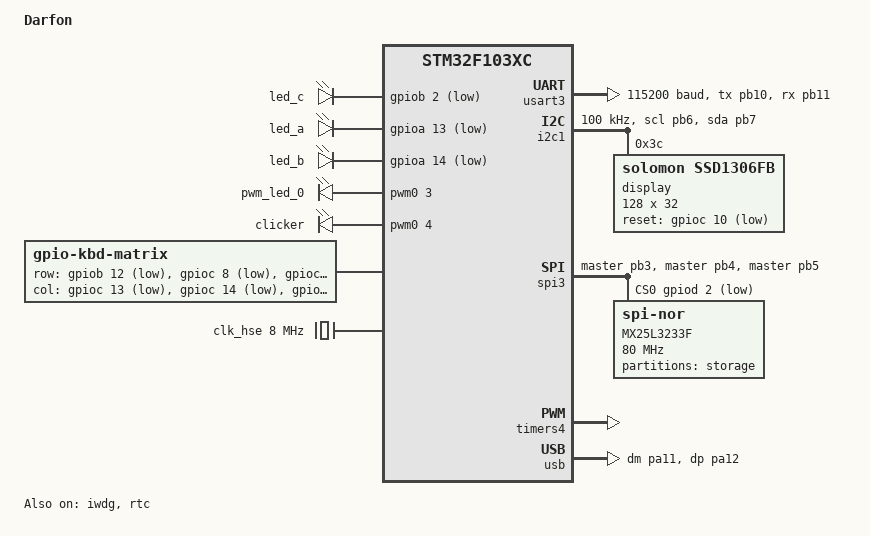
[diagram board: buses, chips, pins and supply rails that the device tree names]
/dts-v1/;
#include <st/f1/stm32f103Xc.dtsi>
#include <st/f1/stm32f103r(c-d-e)tx-pinctrl.dtsi>
#include <zephyr/dt-bindings/input/input-event-codes.h>
#include <zephyr/dt-bindings/input/keymap.h>

/ {
	model = "Darfon";
	compatible = "balto,darfon";

	chosen {
		zephyr,code-partition = &slot0_partition;
		zephyr,sram = &sram0;
		zephyr,flash = &flash0;
		zephyr,console = &usart3;
		zephyr,display = &oled;
	};

	leds {
		compatible = "gpio-leds";
		led_c {
			gpios = <&gpiob 2 GPIO_ACTIVE_LOW>;
		};
		led_a {
			gpios = <&gpioa 13 GPIO_ACTIVE_LOW>;
		};
		led_b {
			gpios = <&gpioa 14 GPIO_ACTIVE_LOW>;
		};
	};

	pwmleds {
		compatible = "pwm-leds";
		pwm_led_0 {
			pwms = <&pwm0 3 5000000 PWM_POLARITY_NORMAL>;
		};
	};

	clicker {
		compatible = "pwm-leds";
		clicker: clicker {
			pwms = <&pwm0 4 5000000 PWM_POLARITY_NORMAL>;
		};
	};

	kbd-matrix {
		compatible = "gpio-kbd-matrix";
		row-gpios = <&gpiob 12 (GPIO_PULL_UP | GPIO_ACTIVE_LOW)>, /* x1 */
			    <&gpioc  8 (GPIO_PULL_UP | GPIO_ACTIVE_LOW)>, /* x2 */
			    <&gpioc  9 (GPIO_PULL_UP | GPIO_ACTIVE_LOW)>, /* x3 */
			    <&gpioa  8 (GPIO_PULL_UP | GPIO_ACTIVE_LOW)>, /* x4 */
			    <&gpioc  5 (GPIO_PULL_UP | GPIO_ACTIVE_LOW)>, /* x5 */
			    <&gpiob  0 (GPIO_PULL_UP | GPIO_ACTIVE_LOW)>, /* x6 */
			    <&gpioa  9 (GPIO_PULL_UP | GPIO_ACTIVE_LOW)>, /* x7 */
			    <&gpiob  1 (GPIO_PULL_UP | GPIO_ACTIVE_LOW)>; /* x8 */
		col-gpios = <&gpioc 13 GPIO_ACTIVE_LOW>, /* y1 */
			    <&gpioc 14 GPIO_ACTIVE_LOW>, /* y2 */
			    <&gpioc 15 GPIO_ACTIVE_LOW>, /* y3 */
			    <&gpioc  1 GPIO_ACTIVE_LOW>, /* y4 */
			    <&gpioc  2 GPIO_ACTIVE_LOW>, /* y5 */
			    <&gpioa  0 GPIO_ACTIVE_LOW>, /* y6 */
			    <&gpioa  2 GPIO_ACTIVE_LOW>, /* y7 */
			    <&gpioa  1 GPIO_ACTIVE_LOW>, /* y8 */
			    <&gpioc  3 GPIO_ACTIVE_LOW>, /* y9 */
			    <&gpioa  3 GPIO_ACTIVE_LOW>, /* y10 */
			    <&gpioa  4 GPIO_ACTIVE_LOW>, /* y11 */
			    <&gpioa  5 GPIO_ACTIVE_LOW>, /* y12 */
			    <&gpioa  6 GPIO_ACTIVE_LOW>, /* y13 */
			    <&gpioa  7 GPIO_ACTIVE_LOW>, /* y14 */
			    <&gpioc  4 GPIO_ACTIVE_LOW>, /* y15 */
			    <&gpioc  7 GPIO_ACTIVE_LOW>, /* y16 */
			    <&gpioc  6 GPIO_ACTIVE_LOW>, /* y17 */
			    <&gpiob 15 GPIO_ACTIVE_LOW>; /* y18 */
		idle-mode = "poll";

		keymap: keymap {
			compatible = "input-keymap";
			keymap = <
				/* MATRIX_KEY(7, 16, media1) SLEEP */
				/* MATRIX_KEY(7, 1, media2)
				/* MATRIX_KEY(7, 17, media3)
				/* MATRIX_KEY(7, 14, media4)
				/* MATRIX_KEY(4, 16, media5)
				/* MATRIX_KEY(5, 0, media6) RESET */

				MATRIX_KEY(0, 1,  INPUT_KEY_ESC)
				MATRIX_KEY(2, 2,  INPUT_KEY_F1)
				MATRIX_KEY(2, 3,  INPUT_KEY_F2)
				MATRIX_KEY(1, 3,  INPUT_KEY_F3)
				MATRIX_KEY(0, 10, INPUT_KEY_F4)
				MATRIX_KEY(0, 9,  INPUT_KEY_F5)
				MATRIX_KEY(0, 5,  INPUT_KEY_F6)
				MATRIX_KEY(1, 5,  INPUT_KEY_F7)
				MATRIX_KEY(2, 5,  INPUT_KEY_F8)
				MATRIX_KEY(2, 4,  INPUT_KEY_F9)
				MATRIX_KEY(3, 4,  INPUT_KEY_F10)
				MATRIX_KEY(3, 2,  INPUT_KEY_F11)
				MATRIX_KEY(0, 2,  INPUT_KEY_F12)
				MATRIX_KEY(3, 3,  INPUT_KEY_SYSRQ)
				MATRIX_KEY(4, 3,  INPUT_KEY_SCROLLLOCK)
				MATRIX_KEY(0, 3,  INPUT_KEY_PAUSE)

				MATRIX_KEY(2, 1,  INPUT_KEY_GRAVE)
				MATRIX_KEY(3, 1,  INPUT_KEY_1)
				MATRIX_KEY(3, 10, INPUT_KEY_2)
				MATRIX_KEY(3, 11, INPUT_KEY_3)
				MATRIX_KEY(3, 6,  INPUT_KEY_4)
				MATRIX_KEY(2, 6,  INPUT_KEY_5)
				MATRIX_KEY(2, 9,  INPUT_KEY_6)
				MATRIX_KEY(3, 9,  INPUT_KEY_7)
				MATRIX_KEY(3, 7,  INPUT_KEY_8)
				MATRIX_KEY(3, 5,  INPUT_KEY_9)
				MATRIX_KEY(3, 8,  INPUT_KEY_0)
				MATRIX_KEY(2, 8,  INPUT_KEY_MINUS)
				MATRIX_KEY(2, 7,  INPUT_KEY_EQUAL)
				MATRIX_KEY(1, 9,  INPUT_KEY_BACKSPACE)
				MATRIX_KEY(2, 10, INPUT_KEY_INSERT)
				MATRIX_KEY(2, 13, INPUT_KEY_HOME)
				MATRIX_KEY(2, 12, INPUT_KEY_PAGEUP)
				MATRIX_KEY(6, 10, INPUT_KEY_NUMLOCK)
				MATRIX_KEY(7, 10, INPUT_KEY_KPSLASH)
				MATRIX_KEY(6, 12, INPUT_KEY_KPASTERISK)
				MATRIX_KEY(7, 12, INPUT_KEY_KPMINUS)

				MATRIX_KEY(1, 1,  INPUT_KEY_TAB)
				MATRIX_KEY(4, 1,  INPUT_KEY_Q)
				MATRIX_KEY(4, 2,  INPUT_KEY_W)
				MATRIX_KEY(4, 13, INPUT_KEY_E)
				MATRIX_KEY(4, 6,  INPUT_KEY_R)
				MATRIX_KEY(1, 6,  INPUT_KEY_T)
				MATRIX_KEY(1, 4,  INPUT_KEY_Y)
				MATRIX_KEY(4, 4,  INPUT_KEY_U)
				MATRIX_KEY(4, 7,  INPUT_KEY_I)
				MATRIX_KEY(4, 5,  INPUT_KEY_O)
				MATRIX_KEY(4, 8,  INPUT_KEY_P)
				MATRIX_KEY(1, 8,  INPUT_KEY_LEFTBRACE)
				MATRIX_KEY(1, 7,  INPUT_KEY_RIGHTBRACE)
				MATRIX_KEY(6, 9,  INPUT_KEY_ENTER)
				MATRIX_KEY(2, 11, INPUT_KEY_DELETE)
				MATRIX_KEY(3, 13, INPUT_KEY_END)
				MATRIX_KEY(3, 12, INPUT_KEY_PAGEDOWN)
				MATRIX_KEY(4, 10, INPUT_KEY_KP7)
				MATRIX_KEY(4, 11, INPUT_KEY_KP8)
				MATRIX_KEY(4, 12, INPUT_KEY_KP9)

				MATRIX_KEY(1, 2,  INPUT_KEY_CAPSLOCK)
				MATRIX_KEY(5, 1,  INPUT_KEY_A)
				MATRIX_KEY(5, 2,  INPUT_KEY_S)
				MATRIX_KEY(5, 3,  INPUT_KEY_D)
				MATRIX_KEY(5, 6,  INPUT_KEY_F)
				MATRIX_KEY(0, 6,  INPUT_KEY_G)
				MATRIX_KEY(0, 4,  INPUT_KEY_H)
				MATRIX_KEY(5, 4,  INPUT_KEY_J)
				MATRIX_KEY(5, 7,  INPUT_KEY_K)
				MATRIX_KEY(5, 5,  INPUT_KEY_L)
				MATRIX_KEY(5, 8,  INPUT_KEY_SEMICOLON)
				MATRIX_KEY(0, 8,  INPUT_KEY_APOSTROPHE)
				MATRIX_KEY(6, 8,  INPUT_KEY_BACKSLASH)
				MATRIX_KEY(1, 10, INPUT_KEY_KP4)
				MATRIX_KEY(1, 11, INPUT_KEY_KP5)
				MATRIX_KEY(1, 12, INPUT_KEY_KP6)
				MATRIX_KEY(1, 13, INPUT_KEY_KPPLUS)

				MATRIX_KEY(1, 0,  INPUT_KEY_LEFTSHIFT)
				MATRIX_KEY(0, 13, INPUT_KEY_COMMA)
				MATRIX_KEY(6, 1,  INPUT_KEY_Z)
				MATRIX_KEY(6, 2,  INPUT_KEY_X)
				MATRIX_KEY(6, 3,  INPUT_KEY_C)
				MATRIX_KEY(6, 6,  INPUT_KEY_V)
				MATRIX_KEY(7, 6,  INPUT_KEY_B)
				MATRIX_KEY(7, 4,  INPUT_KEY_N)
				MATRIX_KEY(6, 4,  INPUT_KEY_M)
				MATRIX_KEY(6, 7,  INPUT_KEY_COMMA)
				MATRIX_KEY(6, 5,  INPUT_KEY_DOT)
				MATRIX_KEY(7, 8,  INPUT_KEY_SLASH)
				MATRIX_KEY(4, 0,  INPUT_KEY_RIGHTSHIFT)
				MATRIX_KEY(7, 9,  INPUT_KEY_UP)
				MATRIX_KEY(5, 10, INPUT_KEY_KP1)
				MATRIX_KEY(5, 11, INPUT_KEY_KP2)
				MATRIX_KEY(5, 12, INPUT_KEY_KP3)

				MATRIX_KEY(2, 16, INPUT_KEY_LEFTCTRL)
				MATRIX_KEY(3, 17, INPUT_KEY_LEFTMETA)
				MATRIX_KEY(0, 15, INPUT_KEY_LEFTALT)
				MATRIX_KEY(7, 3,  INPUT_KEY_SPACE)
				MATRIX_KEY(7, 15, INPUT_KEY_RIGHTALT)
				MATRIX_KEY(5, 14, INPUT_KEY_RIGHTMETA)
				MATRIX_KEY(7, 13, INPUT_KEY_SYSRQ)
				MATRIX_KEY(6, 16, INPUT_KEY_RIGHTCTRL)
				MATRIX_KEY(6, 13, INPUT_KEY_LEFT)
				MATRIX_KEY(7, 11, INPUT_KEY_DOWN)
				MATRIX_KEY(6, 11, INPUT_KEY_RIGHT)
				MATRIX_KEY(0, 11, INPUT_KEY_KP0)
				MATRIX_KEY(0, 12, INPUT_KEY_DOT) /* should be KP_DOT */
				MATRIX_KEY(5, 13, INPUT_KEY_KPENTER)
			>;
			row-size = <8>;
			col-size = <18>;
		};
	};
};

&pinctrl {
	swj-cfg = "disable";
};

&clk_lsi {
	status = "okay";
};

&clk_hse {
	clock-frequency = <DT_FREQ_M(8)>;
	status = "okay";
};

&pll {
	mul = <9>;
	clocks = <&clk_hse>;
	status = "okay";
};

&rcc {
	clocks = <&pll>;
	clock-frequency = <DT_FREQ_M(72)>;
	ahb-prescaler = <1>;
	apb1-prescaler = <2>;
	apb2-prescaler = <1>;
	/* usbpre not set: USB clock = 72 / 1.5: 48MHz */
};

&usart3 {
	pinctrl-0 = <&usart3_tx_pb10 &usart3_rx_pb11>;
	pinctrl-names = "default";
	current-speed = <115200>;
	status = "okay";
};

&i2c1 {
	pinctrl-0 = <&i2c1_scl_pb6 &i2c1_sda_pb7>;
	pinctrl-names = "default";
	status = "okay";
	clock-frequency = <I2C_BITRATE_STANDARD>;

	oled: ssd1306@3c {
		compatible = "solomon,ssd1306fb";
		label = "display";
		reg = <0x3c>;
		reset-gpios = <&gpioc 10 GPIO_ACTIVE_LOW>;
		width = <128>;
		height = <32>;
		segment-offset = <0>;
		page-offset = <0>;
		display-offset = <0>;
		multiplex-ratio = <31>;
		segment-remap;
		com-invdir;
		com-sequential;
		prechargep = <0x22>;
	};
};

&spi3 {
	pinctrl-0 = <&spi3_sck_master_pb3 &spi3_miso_master_pb4
		     &spi3_mosi_master_pb5>;
	pinctrl-names = "default";
	status = "okay";

	cs-gpios = <&gpiod 2 GPIO_ACTIVE_LOW>;

	flash@0 {
		compatible = "jedec,spi-nor";
		label = "MX25L3233F";
		reg = <0>;
		spi-max-frequency = <80000000>;
		size = <0x2000000>;
		has-dpd;
		t-enter-dpd = <10000>;
		t-exit-dpd = <100000>;
		jedec-id = [c2 20 16];
		sfdp-bfp = [
			e5 20 f1 ff  ff ff ff 01  44 eb 08 6b  08 3b 04 bb
			ee ff ff ff  ff ff 00 ff  ff ff 00 ff  0c 20 0f 52
			10 d8 00 ff
		];

		partitions {
			compatible = "fixed-partitions";
			#address-cells = <1>;
			#size-cells = <1>;

			storage_partition: partition@33000 {
				label = "storage";
				reg = <0x00033000 0x10000>;
			};
		};
	};
};

&timers4 {
	st,prescaler = <10000>;
	status = "okay";

	pwm0: pwm {
		status = "okay";
		pinctrl-0 = <&tim4_ch3_pwm_out_pb8 &tim4_ch4_pwm_out_pb9>;
		pinctrl-names = "default";
	};
};

zephyr_udc0: &usb {
	pinctrl-0 = <&usb_dm_pa11 &usb_dp_pa12>;
	pinctrl-names = "default";
	status = "okay";
	disconnect-gpios = <&gpioa 10 GPIO_ACTIVE_HIGH>;
};

&iwdg {
	status = "okay";
};

&rtc {
	clocks = <&rcc STM32_CLOCK_BUS_APB1 0x10000000>,
		 <&rcc STM32_SRC_LSI RTC_SEL(2)>;
	status = "okay";
};

&flash0 {
	partitions {
		compatible = "fixed-partitions";
		#address-cells = <1>;
		#size-cells = <1>;

		boot_partition: partition@0 {
			label = "bootloader";
			reg = <0x00000000 0x2000>;
		};
		slot0_partition: partition@2000 {
			label = "image-0";
			reg = <0x00002000 0x3e000>;
		};
	};
};
